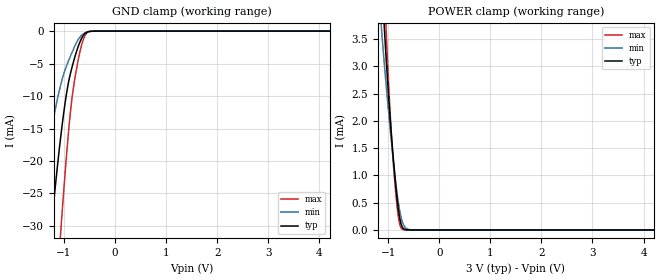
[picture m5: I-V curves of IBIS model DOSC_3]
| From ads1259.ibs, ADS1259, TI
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|   Input DOSC model 3V
[Model]   DOSC_3
Model_type   Input
|Signals   XTAL1/CKLIN, XTAL2
Vinl = 600.000mV
Vinh = 2.4V
| variable   typ   min   max
C_comp   7.6235190pF   9.1499990pF   6.1216040pF
[Voltage Range]   3.000V   2.700V   3.300V
[power clamp reference]   3.0V   2.7V   3.3V
[Temperature Range]   27.0   105.0   -40.0
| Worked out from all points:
|   GND clamp passes 1 mA (typ) near -0.65 V on its own axis
|   POWER clamp passes 1 mA (typ) near -0.87 V on its own axis
[GND Clamp]
|   Voltage   I(typ)   I(min)   I(max)
-3V       -211.9mA   -136.8mA   -278.1mA
-1.549V   -57.23mA   -30.68mA   -90.06mA
-1.27V    -31.93mA   -16.26mA   -55.02mA
-1.245V   -29.79mA   -15.11mA   -51.88mA
-1.067V   -16.41mA   -8.314mA   -31.12mA
-950.9mV  -9.601mA   -5.346mA   -19.09mA
-843.2mV  -5.551mA   -3.272mA   -10.27mA
-712.5mV  -2.168mA   -1.183mA   -4.062mA
-646.5mV  -984.4uA   -569.7uA   -1.875mA
-581mV    -316.5uA   -242.3uA   -570.6uA
-394.2mV  -2.559uA   -7.286uA   -1.844uA
5.991V    0A         0A         0A
[POWER Clamp]
|   Voltage   I(typ)   I(min)   I(max)
-3V       42.87mA    34.75mA    52.36mA
-1.141V   4.832mA    3.804mA    5.897mA
-1.113V   4.327mA    3.46mA     5.244mA
-1.07V    3.605mA    2.973mA    4.288mA
-1.048V   3.263mA    2.741mA    3.827mA
-1.036V   3.071mA    2.609mA    3.564mA
-933.5mV  1.694mA    1.585mA    1.685mA
-871mV    995.4uA    1.024mA    872.2uA
-793.3mV  327.2uA    453.6uA    195.3uA
-718.6mV  44.4uA     134.8uA    10.56uA
-502.8mV  10.62nA    418.2nA    27.29nA
5.991V    0A         0A         0A
